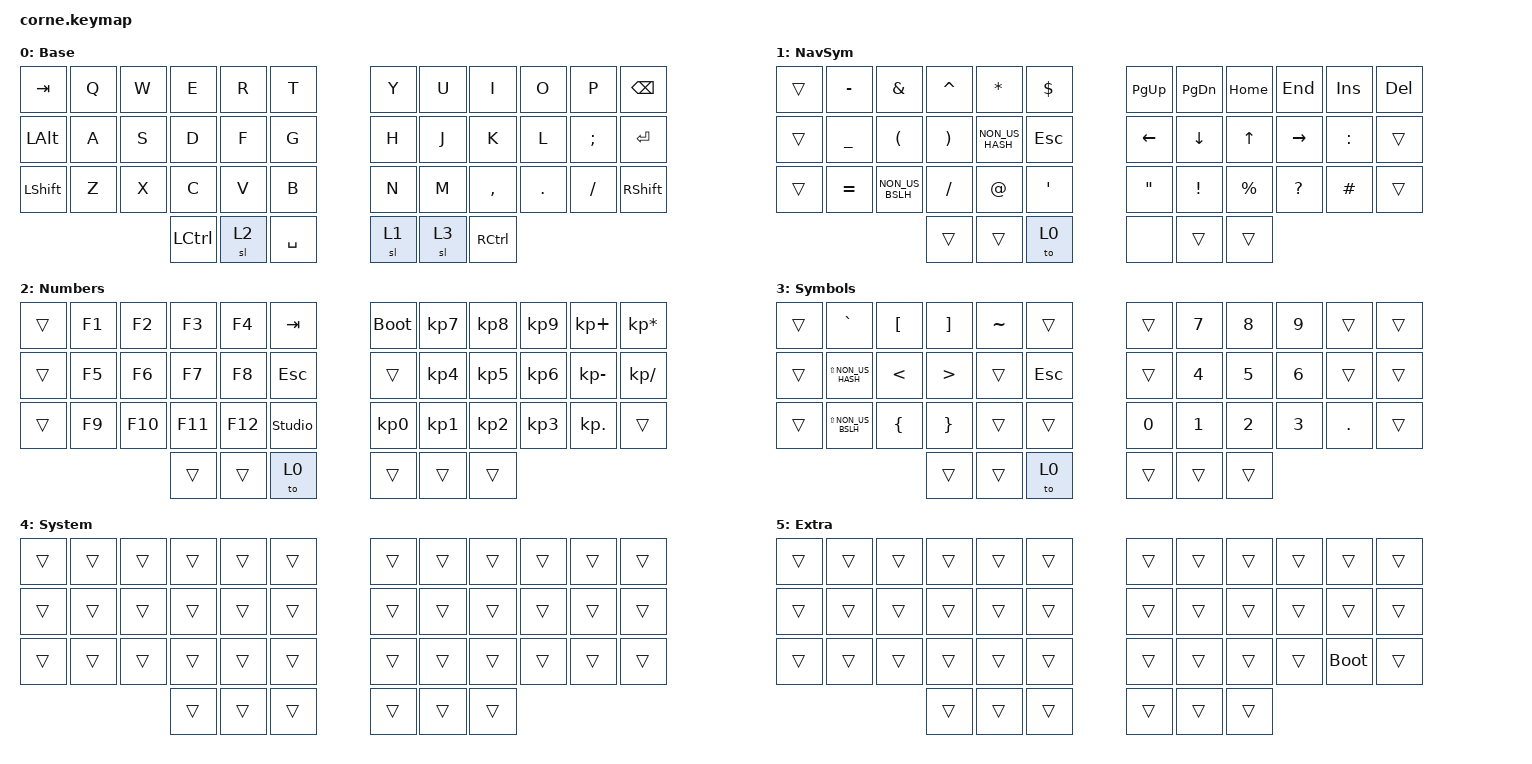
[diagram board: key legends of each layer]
#include <behaviors.dtsi>
#include <dt-bindings/zmk/keys.h>

#define DEF 0
#define NAV 1
#define SYM 2
#define ADJ 3
#define EXTRA 4

/ {
    behaviors {
        hm: homerow_mods {
            compatible = "zmk,behavior-hold-tap";
            label = "HOMEROW_MODS";
            #binding-cells = <2>;
            tapping-term-ms = <200>;
            quick_tap_ms = <0>;
            flavor = "tap-preferred";
            bindings = <&kp>, <&kp>;

            quick-tap-ms = <180>;
            global-quick-tap;
        };

        para: para {
            compatible = "zmk,behavior-tap-dance";
            label = "PARA";
            #binding-cells = <0>;
            bindings = <&kp LEFT_PARENTHESIS>, <&kp RIGHT_PARENTHESIS>;
        };

        caps: caps {
            compatible = "zmk,behavior-caps-word";
            label = "CAPS";
            #binding-cells = <0>;
            continue-list = <MINUS BACKSPACE>;
        };

        paraless: paraless {
            compatible = "zmk,behavior-mod-morph";
            label = "PARALESS";
            bindings = <&kp LEFT_PARENTHESIS>, <&kp LESS_THAN>;

            #binding-cells = <0>;
            mods = <(MOD_LSFT)>;
        };

        paragreat: paragreat {
            compatible = "zmk,behavior-mod-morph";
            label = "PARAGREAT";
            bindings = <&kp RIGHT_PARENTHESIS>, <&kp GREATER_THAN>;

            #binding-cells = <0>;
            mods = <(MOD_LSFT)>;
        };
    };

    macros {
        browsertab: browsertab {
            compatible = "zmk,behavior-macro";
            #binding-cells = <0>;
            bindings =
                <&macro_press>,
                <&kp LCTRL>,
                <&macro_tap>,
                <&kp TAB>,
                <&macro_release>,
                <&kp LCTRL>;
        };
    };

    combos {
        compatible = "zmk,combos";

        dash {
            bindings = <&kp MINUS>;
            key-positions = <31 32>;
        };

        apos {
            bindings = <&kp SINGLE_QUOTE>;
            key-positions = <33 32>;
        };

        unlock {
            bindings = <&studio_unlock>;
            key-positions = <36 37>;
        };

        bootloader {
            bindings = <&bootloader>;
            key-positions = <36 37 38>;
        };

        win {
            bindings = <&kp RIGHT_WIN>;
            key-positions = <41 40>;
        };

        menu {
            bindings = <&kp K_MENU>;
            key-positions = <33 34>;
        };
    };

    //

    keymap {
        compatible = "zmk,keymap";

        DEF {
            display-name = "Base";

            // -----------------------------------------------------------------------------------------
            // |  Q  |  W  |  E  |  R  |  T  |   |  Y  |  U   |  I  |  O  |  P  |
            // |  A  |  S  |  D  |  F  |  G  |   |  H  |  J   |  K  |  L  |  ;  |
            // |  Z  |  X  |  C  |  V  |  B  |   |  N  |  M   |  ,  |  .  |  /  |
            // | GUI | CTRL | SHFT | LWR | SPC |   | ENT | RSE  | BKSP | ALT | ESC |

            bindings = <
&kp TAB         &kp Q  &kp W  &kp E             &kp R  &kp T        &kp Y  &kp U  &kp I              &kp O    &kp P     &kp BACKSPACE
&kp LEFT_ALT    &kp A  &kp S  &kp D             &kp F  &kp G        &kp H  &kp J  &kp K              &kp L    &kp SEMI  &kp RETURN
&kp LEFT_SHIFT  &kp Z  &kp X  &kp C             &kp V  &kp B        &kp N  &kp M  &kp COMMA          &kp DOT  &kp FSLH  &kp RSHFT
                              &kp LEFT_CONTROL  &sl 2  &kp SPACE    &sl 1  &sl 3  &kp RIGHT_CONTROL
            >;
        };

        NAV {
            display-name = "NavSym";

            // -----------------------------------------------------------------------------------------
            // |  TAB |  1  |  2  |  3  |  4  |  5  |   |  6  |  7  |  8  |  9  |  0  | BKSP |
            // | BTCLR| BT1 | BT2 | BT3 | BT4 | BT5 |   | LFT | DWN |  UP | RGT |     |      |
            // | SHFT |     |     |     |     |     |   |     |     |     |     |     |      |
            // | GUI | CTRL | SHFT | LWR | SPC |   | ENT | RSE  | BKSP | ALT | ESC |

            bindings = <
&trans  &kp MINUS  &kp AMPERSAND         &kp CARET              &kp STAR         &kp DOLLAR          &kp PAGE_UP        &kp PAGE_DOWN   &kp HOME      &kp END          &kp INSERT  &kp DELETE
&trans  &kp UNDER  &kp LEFT_PARENTHESIS  &kp RIGHT_PARENTHESIS  &kp NON_US_HASH  &kp ESCAPE          &kp LEFT_ARROW     &kp DOWN_ARROW  &kp UP_ARROW  &kp RIGHT_ARROW  &kp COLON   &trans
&trans  &kp EQUAL  &kp NON_US_BSLH       &kp SLASH              &kp AT_SIGN      &kp SINGLE_QUOTE    &kp DOUBLE_QUOTES  &kp EXCL        &kp PERCENT   &kp QUESTION     &kp HASH    &trans
                                         &trans                 &trans           &to 0               &none              &trans          &trans
            >;
        };

        NUM {
            display-name = "Numbers";
            bindings = <
&trans  &kp F1  &kp F2   &kp F3   &kp F4   &kp TAB           &bootloader      &kp KP_NUMBER_7  &kp KP_NUMBER_8  &kp KP_NUMBER_9  &kp KP_PLUS      &kp KP_MULTIPLY
&trans  &kp F5  &kp F6   &kp F7   &kp F8   &kp ESCAPE        &trans           &kp KP_NUMBER_4  &kp KP_NUMBER_5  &kp KP_NUMBER_6  &kp KP_SUBTRACT  &kp KP_DIVIDE
&trans  &kp F9  &kp F10  &kp F11  &kp F12  &studio_unlock    &kp KP_NUMBER_0  &kp KP_NUMBER_1  &kp KP_NUMBER_2  &kp KP_NUMBER_3  &kp KP_DOT       &trans
                         &trans   &trans   &to 0             &trans           &trans           &trans
            >;
        };

        SYM {
            display-name = "Symbols";

            // -----------------------------------------------------------------------------------------
            // |  TAB |  !  |  @  |  #  |  $  |  %  |   |  ^  |  &  |  *  |  (  |  )  | BKSP |
            // | CTRL |     |     |     |     |     |   |  -  |  =  |  [  |  ]  |  \  |  `   |
            // | SHFT |     |     |     |     |     |   |  _  |  +  |  {  |  }  | "|" |  ~   |
            //                    | GUI |     | SPC |   | ENT |     | ALT |

            bindings = <
&trans  &kp GRAVE            &kp LEFT_BRACKET  &kp RIGHT_BRACKET  &kp TILDE  &trans        &trans  &kp N7  &kp N8  &kp N9  &trans      &trans
&trans  &kp LS(NON_US_HASH)  &kp LESS_THAN     &kp GREATER_THAN   &trans     &kp ESCAPE    &trans  &kp N4  &kp N5  &kp N6  &trans      &trans
&trans  &kp LS(NON_US_BSLH)  &kp LEFT_BRACE    &kp RIGHT_BRACE    &trans     &trans        &kp N0  &kp N1  &kp N2  &kp N3  &kp PERIOD  &trans
                                               &trans             &trans     &to 0         &trans  &trans  &trans
            >;
        };

        SYS {
            bindings = <
&trans  &trans  &trans  &trans  &trans  &trans    &trans  &trans  &trans  &trans  &trans  &trans
&trans  &trans  &trans  &trans  &trans  &trans    &trans  &trans  &trans  &trans  &trans  &trans
&trans  &trans  &trans  &trans  &trans  &trans    &trans  &trans  &trans  &trans  &trans  &trans
                        &trans  &trans  &trans    &trans  &trans  &trans
            >;

            label = "System";
        };

        EXTRA {
            display-name = "Extra";
            bindings = <
&trans  &trans  &trans  &trans  &trans  &trans    &trans  &trans  &trans  &trans  &trans       &trans
&trans  &trans  &trans  &trans  &trans  &trans    &trans  &trans  &trans  &trans  &trans       &trans
&trans  &trans  &trans  &trans  &trans  &trans    &trans  &trans  &trans  &trans  &bootloader  &trans
                        &trans  &trans  &trans    &trans  &trans  &trans
            >;
        };
    };

    conditional_layers {
        compatible = "zmk,conditional-layers";

        syslayer {
            if-layers = <2 3>;
            then-layer = <4>;
        };
    };
};
